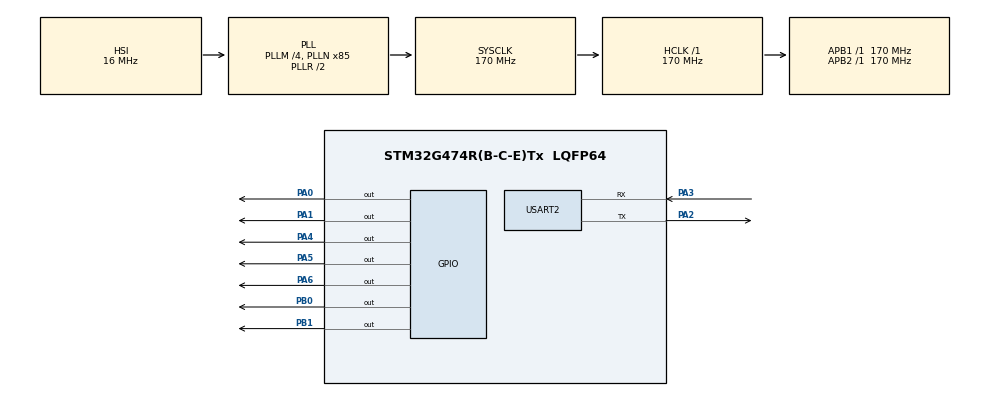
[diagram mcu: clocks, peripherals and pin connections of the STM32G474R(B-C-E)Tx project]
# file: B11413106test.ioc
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Mcu.Family=STM32G4
Mcu.Name=STM32G474R(B-C-E)Tx
Mcu.Package=LQFP64
NVIC.PriorityGroup=NVIC_PRIORITYGROUP_4
NVIC.TIM6_DAC_IRQn=true\:0\:0\:false\:false\:true\:true\:true\:true
NVIC.USART2_IRQn=true\:0\:0\:false\:false\:true\:true\:true\:true
PA0.Signal=GPIO_Output
PA1.Signal=GPIO_Output
PA13.GPIO_Label=T_SWDIO
PA13.Signal=SYS_JTMS-SWDIO
PA14.GPIO_Label=T_SWCLK
PA14.Signal=SYS_JTCK-SWCLK
PA2.Mode=Asynchronous
PA2.Signal=USART2_TX
PA3.Mode=Asynchronous
PA3.Signal=USART2_RX
PA4.Signal=GPIO_Output
PA5.Signal=GPIO_Output
PA6.Signal=GPIO_Output
PB0.Signal=GPIO_Output
PB1.Signal=GPIO_Output
PB3.GPIO_Label=T_SWO
PB3.Signal=SYS_JTDO-SWO
PC14-OSC32_IN.GPIO_Label=RCC_OSC32_IN
PC14-OSC32_IN.Signal=RCC_OSC32_IN
PC15-OSC32_OUT.GPIO_Label=RCC_OSC32_OUT
PC15-OSC32_OUT.Signal=RCC_OSC32_OUT
PF0-OSC_IN.GPIO_Label=RCC_OSC_IN
PF0-OSC_IN.Mode=HSE-External-Oscillator
PF0-OSC_IN.Signal=RCC_OSC_IN
PF1-OSC_OUT.GPIO_Label=RCC_OSC_OUT
PF1-OSC_OUT.Mode=HSE-External-Oscillator
PF1-OSC_OUT.Signal=RCC_OSC_OUT
ProjectManager.HeapSize=0x200
ProjectManager.StackSize=0x400
ProjectManager.TargetToolchain=STM32CubeIDE
RCC.ADC12Freq_Value=170000000
RCC.ADC345Freq_Value=170000000
RCC.AHBFreq_Value=170000000
RCC.APB1Freq_Value=170000000
RCC.APB1TimFreq_Value=170000000
RCC.APB2Freq_Value=170000000
RCC.APB2TimFreq_Value=170000000
RCC.CortexFreq_Value=170000000
RCC.EXTERNAL_CLOCK_VALUE=12288000
RCC.HCLKFreq_Value=170000000
RCC.HSE_VALUE=24000000
RCC.HSI48_VALUE=48000000
RCC.HSI_VALUE=16000000
RCC.LSE_VALUE=32768
RCC.PLLM=RCC_PLLM_DIV4
RCC.PLLN=85
RCC.RTCClockSelection=RCC_RTCCLKSOURCE_LSE
RCC.SYSCLKFreq_VALUE=170000000
RCC.SYSCLKSource=RCC_SYSCLKSOURCE_PLLCLK
RCC.USBFreq_Value=170000000
RCC.VCOOutputFreq_Value=340000000
TIM6.Prescaler=169
USART2.VirtualMode-Asynchronous=VM_ASYNC
VP_SYS_VS_DBSignals.Mode=DisableDeadBatterySignals
VP_TIM6_VS_ClockSourceINT.Mode=Enable_Timer
board=NUCLEO-G474RE

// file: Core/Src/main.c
/* USER CODE BEGIN Header */
/**
  ******************************************************************************
  * @file           : main.c
  * @brief          : NUCLEO-G474RE 電子仙女棒控制程式 (加快燈光熄滅速度、平滑 PWM 及 5 秒碳化恢復)
  ******************************************************************************
  */
/* USER CODE END Header */
#include "main.h"

/* USER CODE BEGIN Includes */
#include <string.h>          // 引入字串與記憶體操作函式庫，用於初始化與歸零全域陣列，原因為方便管理記憶體
#include <stdbool.h>         // 引入布林值型態支援，用於碳化狀態與等待邏輯判斷，原因便於狀態管理
/* USER CODE END Includes */

/* USER CODE BEGIN PD */
#define LED_COUNT 7          // 定義仙女棒總共的 LED 數量為 7 顆，原因為方便後續迴圈與陣列操作
#define PWM_MAX 100          // 定義軟體 PWM 的最大亮度極限值，數值越大階調越細緻平順
/* USER CODE END PD */

TIM_HandleTypeDef htim6;     // 宣告 TIM6 定時器句柄結構體變數，原因用於產生軟體 PWM 與動畫時基

UART_HandleTypeDef huart2;   // 宣告 UART2 句柄結構體變數，原因用於接收外部控制指令

/* USER CODE BEGIN PV */
uint8_t rx_byte;                             // 用於存放從 UART 接收到的單一字元變數
volatile uint8_t led_brightness[LED_COUNT];  // 儲存 7 顆 LED 當前的實際亮度 (0 到 100)，供中斷服務函式使用
volatile uint8_t led_target[LED_COUNT];      // 儲存 7 顆 LED 的目標亮度，原因用於實現漸變過渡
bool led_carbonized[LED_COUNT];              // 模擬碳化狀態：若為 true 表示該處已燃燒完畢碳化，無法再次點燃
uint32_t anim_tick = 0;                      // 動畫計時器變數，原因用來控制仙女棒燃燒擴散與漸弱的更新頻率
/* USER CODE END PV */

void SystemClock_Config(void);
static void MX_GPIO_Init(void);
static void MX_TIM6_Init(void);
static void MX_USART2_UART_Init(void);
/* USER CODE BEGIN PFP */
void Sparkler_Update(void);                  // 宣告仙女棒燃燒動態邏輯更新函式
/* USER CODE END PFP */

/* USER CODE BEGIN 0 */

// 定時器 TIM6 中斷回調函式：負責產生軟體 PWM 脈波與掃描 LED 亮度
void HAL_TIM_PeriodElapsedCallback(TIM_HandleTypeDef *htim)
{
  if (htim->Instance == TIM6)                  // 檢查是否為 TIM6 定時器觸發的中斷
  {
    static uint8_t pwm_counter = 0;            // 宣告靜態變數作為 PWM 週期計數器 (0 到 99)
    pwm_counter++;                             // 每次中斷計數器遞增 1，形成高頻掃描
    if (pwm_counter >= PWM_MAX)                // 當計數器達到最大值時歸零，完成一個 PWM 週期
    {
      pwm_counter = 0;                         // 歸零計數器以重新開始下一個 PWM 週期
    }

    // 依序掃描 7 顆 LED，利用比較 pwm_counter 與當前亮度來決定開關狀態，達到平順調光
    // LED 1 控制 (位於 PA0)
    if (pwm_counter < led_brightness[0]) { HAL_GPIO_WritePin(GPIOA, GPIO_PIN_0, GPIO_PIN_SET); }
    else { HAL_GPIO_WritePin(GPIOA, GPIO_PIN_0, GPIO_PIN_RESET); }

    // LED 2 控制 (位於 PA1)
    if (pwm_counter < led_brightness[1]) { HAL_GPIO_WritePin(GPIOA, GPIO_PIN_1, GPIO_PIN_SET); }
    else { HAL_GPIO_WritePin(GPIOA, GPIO_PIN_1, GPIO_PIN_RESET); }

    // LED 3 控制 (位於 PB0，避開 UART 的 PA2)
    if (pwm_counter < led_brightness[2]) { HAL_GPIO_WritePin(GPIOB, GPIO_PIN_0, GPIO_PIN_SET); }
    else { HAL_GPIO_WritePin(GPIOB, GPIO_PIN_0, GPIO_PIN_RESET); }

    // LED 4 控制 (位於 PB1，避開 UART 的 PA3)
    if (pwm_counter < led_brightness[3]) { HAL_GPIO_WritePin(GPIOB, GPIO_PIN_1, GPIO_PIN_SET); }
    else { HAL_GPIO_WritePin(GPIOB, GPIO_PIN_1, GPIO_PIN_RESET); }

    // LED 5 控制 (位於 PA4)
    if (pwm_counter < led_brightness[4]) { HAL_GPIO_WritePin(GPIOA, GPIO_PIN_4, GPIO_PIN_SET); }
    else { HAL_GPIO_WritePin(GPIOA, GPIO_PIN_4, GPIO_PIN_RESET); }

    // LED 6 控制 (位於 PA5)
    if (pwm_counter < led_brightness[5]) { HAL_GPIO_WritePin(GPIOA, GPIO_PIN_5, GPIO_PIN_SET); }
    else { HAL_GPIO_WritePin(GPIOA, GPIO_PIN_5, GPIO_PIN_RESET); }

    // LED 7 控制 (位於 PA6)
    if (pwm_counter < led_brightness[6]) { HAL_GPIO_WritePin(GPIOA, GPIO_PIN_6, GPIO_PIN_SET); }
    else { HAL_GPIO_WritePin(GPIOA, GPIO_PIN_6, GPIO_PIN_RESET); }
  }
}

// UART 接收完成回調函式：當透過序列埠輸入字元時觸發
void HAL_UART_RxCpltCallback(UART_HandleTypeDef *huart)
{
  if (huart->Instance == USART2)               // 確認是否為 USART2 觸發的接收事件
  {
    if (rx_byte >= '1' && rx_byte <= '7')      // 檢查輸入字元是否介於 '1' 到 '7' 之間
    {
      int index = rx_byte - '1';               // 將字元轉換為對應的陣列索引值 (0 到 6)

      if (!led_carbonized[index])              // 檢查該位置是否已經碳化，若未碳化才允許點燃
      {
        led_target[index] = 100;               // 設定輸入點擊位置為最高亮度目標 (點燃起點)
      }
    }
    HAL_UART_Receive_IT(&huart2, &rx_byte, 1); // 重新啟動 UART 接收中斷以持續監聽下一個指令
  }
}

// 仙女棒燃燒、連鎖蔓延與碳化動畫邏輯核心函式
void Sparkler_Update(void)
{
  // 1. 亮度漸變與碳化狀態更新
  for (int i = 0; i < LED_COUNT; i++)          // 迴圈遍歷每一顆 LED 以平滑更新其亮度
  {
    if (led_brightness[i] < led_target[i])     // 如果當前亮度小於目標亮度
    {
      led_brightness[i]++;                     // 漸進式調亮，使點亮過程平順不突兀
    }
    else if (led_brightness[i] > led_target[i]) // 如果當前亮度大於目標亮度（模擬燃燒後漸弱與碳化）
    {
      // 讓亮度遞減速度加快（每次扣 3），使熄滅過程更快速俐落
      if (led_brightness[i] >= 3) {
        led_brightness[i] -= 3;
      } else {
        led_brightness[i] = 0;
      }

      if (led_brightness[i] == 0 && led_target[i] == 0) // 當亮度歸零且目標也為零時
      {
        led_carbonized[i] = true;              // 標記該 LED 已經碳化失效，無法再次點亮
      }
    }
  }

  // 2. 模擬真實仙女棒流動蔓延特性：當某處燃燒亮度達到 60 時，平順向左右未點燃的鄰居傳遞燃燒
  for (int i = 0; i < LED_COUNT; i++)
  {
    if (led_brightness[i] >= 60 && led_target[i] == 100) // 當該 LED 正在強烈燃燒時
    {
      // 往左側流動蔓延（若左側有空間且未碳化且尚未點燃）
      if (i > 0 && !led_carbonized[i - 1] && led_target[i - 1] == 0 && led_brightness[i - 1] == 0)
      {
        led_target[i - 1] = 100;               // 點燃左側鄰近 LED，實現連鎖蔓延
      }
      // 往右側流動蔓延（若右側有空間且未碳化且尚未點燃）
      if (i < LED_COUNT - 1 && !led_carbonized[i + 1] && led_target[i + 1] == 0 && led_brightness[i + 1] == 0)
      {
        led_target[i + 1] = 100;               // 點燃右側鄰近 LED，實現連鎖蔓延
      }
    }
  }

  // 3. 燃燒頂峰後的熄滅引導：當 LED 達到最亮 (100) 後，將目標降為 0，並加快目標遞減速度以加速熄滅
  for (int i = 0; i < LED_COUNT; i++)
  {
    if (led_brightness[i] >= 100 && led_target[i] == 100)
    {
      led_target[i] = 0;                       // 達到頂峰後設定目標為 0，引導進入熄滅階段
    }

    // 如果目標值大於 0 且已經在消散中，讓目標值快速遞減（每次減 5），使熄滅時間大幅縮短
    if (led_target[i] > 0 && led_target[i] < 100)
    {
      if (led_target[i] > 5) {
        led_target[i] -= 5;                    // 加快目標值下降速度，使燈光熄滅速度變快
      } else {
        led_target[i] = 0;
      }
    }
  }

  // 4. 5 秒碳化恢復計時邏輯
  static uint32_t carbonize_timer = 0;         // 記錄完全碳化開始的系統時間戳記
  static bool waiting_for_reset = false;       // 記錄目前是否正在進行 5 秒倒數計時

  // 檢查是否所有 LED 都已經碳化燃燒完畢
  bool all_carbonized = true;                  // 假設全部已經碳化
  for (int i = 0; i < LED_COUNT; i++)
  {
    if (!led_carbonized[i]) { all_carbonized = false; break; }  // 只要有一顆還沒碳化就設為 false
  }

  if (all_carbonized)                          // 如果全部燃燒完畢進入完全碳化狀態
  {
    if (!waiting_for_reset)                    // 若尚未開始計時
    {
      waiting_for_reset = true;                // 標記進入等待狀態
      carbonize_timer = HAL_GetTick();         // 取得當前系統時間作為 5 秒計時起點
    }
    else                                       // 若已經在等待中
    {
      if (HAL_GetTick() - carbonize_timer >= 5000) // 檢查是否已經經過了 5 秒 (5000 毫秒)
      {
        for (int i = 0; i < LED_COUNT; i++)
        {
          led_carbonized[i] = false;           // 5 秒冷卻時間到，解除碳化限制，恢復仙女棒狀態
        }
        waiting_for_reset = false;             // 重置等待旗標，準備迎接下一輪燃燒
      }
    }
  }
  else
  {
    waiting_for_reset = false;                 // 若尚未全數碳化，則重置計時等待狀態
  }
}
/* USER CODE END 0 */

int main(void)
{

  /* MCU Configuration--------------------------------------------------------*/

  /* Reset of all peripherals, Initializes the Flash interface and the Systick. */
  HAL_Init();                                  // 初始化 HAL 庫與系統滴答計時器，確保基礎時脈正常

  /* Configure the system clock */
  SystemClock_Config();                        // 設定系統時脈至 170 MHz

  /* Initialize all configured peripherals */
  MX_GPIO_Init();                              // 初始化所有 LED 控制的 GPIO 腳位
  MX_TIM6_Init();                              // 初始化 TIM6 定時器（用於軟體 PWM 脈波基準）
  MX_USART2_UART_Init();                       // 初始化 USART2 序列埠（用於接收外部指令）

  /* USER CODE BEGIN 2 */
  memset((void*)led_brightness, 0, sizeof(led_brightness)); // 將所有 LED 亮度歸零初始化
  memset((void*)led_target, 0, sizeof(led_target));         // 將所有目標亮度歸零初始化
  memset(led_carbonized, 0, sizeof(led_carbonized));        // 清除碳化標記，預設均未碳化

  HAL_TIM_Base_Start_IT(&htim6);                            // 啟動 TIM6 定時器中斷，開始高頻軟體 PWM 掃描
  HAL_UART_Receive_IT(&huart2, &rx_byte, 1);                // 啟動 UART2 接收中斷，準備接收使用者指令
  /* USER CODE END 2 */

  /* Infinite loop */
  /* USER CODE BEGIN WHILE */
  while (1)
  {
    uint32_t current_tick = HAL_GetTick();     // 取得當前的系統時間戳記
    if (current_tick - anim_tick >= 20)        // 每隔 20 毫秒執行一次更新，確保動畫平順
    {
      anim_tick = current_tick;                // 更新計時基準點
      Sparkler_Update();                       // 呼叫仙女棒動態更新函式
    }
    /* USER CODE END WHILE */

  }
}

void SystemClock_Config(void)
{
  RCC_OscInitTypeDef RCC_OscInitStruct = {0};
  RCC_ClkInitTypeDef RCC_ClkInitStruct = {0};

  /** Configure the main internal regulator output voltage
  */
  HAL_PWREx_ControlVoltageScaling(PWR_REGULATOR_VOLTAGE_SCALE1_BOOST); // 設定內部穩壓器為 Boost 模式以支援高效能

  /** Initializes the RCC Oscillators according to the specified parameters
  * in the RCC_OscInitTypeDef structure.
  */
  RCC_OscInitStruct.OscillatorType = RCC_OSCILLATORTYPE_HSI; // 使用內部高速振盪器 (HSI)
  RCC_OscInitStruct.HSIState = RCC_HSI_ON;                  // 開啟 HSI
  RCC_OscInitStruct.HSICalibrationValue = RCC_HSICALIBRATION_DEFAULT; // 預設校準值
  RCC_OscInitStruct.PLL.PLLState = RCC_PLL_ON;              // 開啟 PLL 鎖相迴路
  RCC_OscInitStruct.PLL.PLLSource = RCC_PLLSOURCE_HSI;      // PLL 來源設為 HSI
  RCC_OscInitStruct.PLL.PLLM = RCC_PLLM_DIV4;               // PLL M 分頻係數
  RCC_OscInitStruct.PLL.PLLN = 85;                          // PLL N 倍頻係數
  RCC_OscInitStruct.PLL.PLLP = RCC_PLLP_DIV2;               // PLL P 分頻
  RCC_OscInitStruct.PLL.PLLQ = RCC_PLLQ_DIV2;               // PLL Q 分頻
  RCC_OscInitStruct.PLL.PLLR = RCC_PLLR_DIV2;               // PLL R 分頻
  if (HAL_RCC_OscConfig(&RCC_OscInitStruct) != HAL_OK)
  {
    Error_Handler();                                        // 若時脈設定失敗則進入錯誤處理
  }

  /** Initializes the CPU, AHB and APB buses clocks
  */
  RCC_ClkInitStruct.ClockType = RCC_CLOCKTYPE_HCLK|RCC_CLOCKTYPE_SYSCLK
                              |RCC_CLOCKTYPE_PCLK1|RCC_CLOCKTYPE_PCLK2;
  RCC_ClkInitStruct.SYSCLKSource = RCC_SYSCLKSOURCE_PLLCLK; // 系統時脈來源設為 PLL
  RCC_ClkInitStruct.AHBCLKDivider = RCC_SYSCLK_DIV1;         // AHB 匯流排不分頻
  RCC_ClkInitStruct.APB1CLKDivider = RCC_HCLK_DIV1;          // APB1 匯流排不分頻
  RCC_ClkInitStruct.APB2CLKDivider = RCC_HCLK_DIV1;          // APB2 匯流排不分頻

  if (HAL_RCC_ClockConfig(&RCC_ClkInitStruct, FLASH_LATENCY_4) != HAL_OK)
  {
    Error_Handler();                                        // 若匯流排設定失敗則進入錯誤處理
  }
}

static void MX_TIM6_Init(void)
{

  TIM_MasterConfigTypeDef sMasterConfig = {0};

  htim6.Instance = TIM6;
  htim6.Init.Prescaler = 170 - 1;              // 預分頻器設定：將 170MHz 主頻降頻為 1MHz (每 1us 計數一次)
  htim6.Init.CounterMode = TIM_COUNTERMODE_UP; // 向上計數模式
  htim6.Init.Period = 100 - 1;                 // 自動重載值設定：計數 100 次觸發一次中斷 (100us，即 10kHz  PWM 頻率)
  htim6.Init.AutoReloadPreload = TIM_AUTORELOAD_PRELOAD_DISABLE; // 停用自動重載預載入
  if (HAL_TIM_Base_Init(&htim6) != HAL_OK)
  {
    Error_Handler();                           // 初始化失敗則進錯誤處理
  }
  sMasterConfig.MasterOutputTrigger = TIM_TRGO_RESET;
  sMasterConfig.MasterSlaveMode = TIM_MASTERSLAVEMODE_DISABLE;
  if (HAL_TIMEx_MasterConfigSynchronization(&htim6, &sMasterConfig) != HAL_OK)
  {
    Error_Handler();                           // 同步設定失敗則進錯誤處理
  }

}

static void MX_USART2_UART_Init(void)
{

  huart2.Instance = USART2;
  huart2.Init.BaudRate = 115200;               // 波特率設為 115200
  huart2.Init.WordLength = UART_WORDLENGTH_8B; // 資料位元為 8 位元
  huart2.Init.StopBits = UART_STOPBITS_1;      // 停止位元為 1 位元
  huart2.Init.Parity = UART_PARITY_NONE;      // 無奇偶校驗
  huart2.Init.Mode = UART_MODE_TX_RX;         // 啟用收發雙向模式
  huart2.Init.HwFlowCtl = UART_HWCONTROL_NONE; // 無硬體流控
  huart2.Init.OverSampling = UART_OVERSAMPLING_16; // 過取樣率 16 倍
  huart2.Init.OneBitSampling = UART_ONE_BIT_SAMPLE_DISABLE; // 停用單位取樣
  huart2.Init.ClockPrescaler = UART_PRESCALER_DIV1; // 時脈不分頻
  huart2.AdvancedInit.AdvFeatureInit = UART_ADVFEATURE_NO_INIT;
  if (HAL_UART_Init(&huart2) != HAL_OK)
  {
    Error_Handler();                           // 初始化失敗則進錯誤處理
  }
  if (HAL_UARTEx_SetTxFifoThreshold(&huart2, UART_TXFIFO_THRESHOLD_1_8) != HAL_OK)
  {
    Error_Handler();
  }
  if (HAL_UARTEx_SetRxFifoThreshold(&huart2, UART_RXFIFO_THRESHOLD_1_8) != HAL_OK)
  {
    Error_Handler();
  }
  if (HAL_UARTEx_DisableFifoMode(&huart2) != HAL_OK)
  {
    Error_Handler();
  }

}

static void MX_GPIO_Init(void)
{
  GPIO_InitTypeDef GPIO_InitStruct = {0};

  /* GPIO Ports Clock Enable */
  __HAL_RCC_GPIOC_CLK_ENABLE();                // 啟用 GPIOC 時脈
  __HAL_RCC_GPIOF_CLK_ENABLE();                // 啟用 GPIOF 時脈
  __HAL_RCC_GPIOA_CLK_ENABLE();                // 啟用 GPIOA 時脈 (支援 PA0, PA1, PA4, PA5, PA6)
  __HAL_RCC_GPIOB_CLK_ENABLE();                // 啟用 GPIOB 時脈 (支援 PB0, PB1)

  /*Configure GPIO pin Output Level */
  HAL_GPIO_WritePin(GPIOA, GPIO_PIN_0|GPIO_PIN_1|GPIO_PIN_4|GPIO_PIN_5
                          |GPIO_PIN_6, GPIO_PIN_RESET); // 預設輸出低電位（LED 熄滅）

  /*Configure GPIO pin Output Level */
  HAL_GPIO_WritePin(GPIOB, GPIO_PIN_0|GPIO_PIN_1, GPIO_PIN_RESET); // 預設輸出低電位（LED 熄滅）

  /*Configure GPIO pins : PA0 PA1 PA4 PA5 PA6 */
  GPIO_InitStruct.Pin = GPIO_PIN_0|GPIO_PIN_1|GPIO_PIN_4|GPIO_PIN_5
                          |GPIO_PIN_6;
  GPIO_InitStruct.Mode = GPIO_MODE_OUTPUT_PP;  // 設定為推挽輸出模式
  GPIO_InitStruct.Pull = GPIO_NOPULL;          // 不上下拉
  GPIO_InitStruct.Speed = GPIO_SPEED_FREQ_LOW; // 輸出速度設為低速
  HAL_GPIO_Init(GPIOA, &GPIO_InitStruct);      // 初始化 GPIOA 腳位

  /*Configure GPIO pins : PB0 PB1 */
  GPIO_InitStruct.Pin = GPIO_PIN_0|GPIO_PIN_1;
  GPIO_InitStruct.Mode = GPIO_MODE_OUTPUT_PP;  // 設定為推挽輸出模式
  GPIO_InitStruct.Pull = GPIO_NOPULL;          // 不上下拉
  GPIO_InitStruct.Speed = GPIO_SPEED_FREQ_LOW; // 輸出速度設為低速
  HAL_GPIO_Init(GPIOB, &GPIO_InitStruct);      // 初始化 GPIOB 腳位

}

void Error_Handler(void)
{
  /* USER CODE BEGIN Error_Handler_Debug */
  /* User can add his own implementation to report the HAL error return state */
  __disable_irq();                             // 關閉全域中斷，進入保護狀態
  while (1)
  {
    // 停留在無窮迴圈中等待排除
  }
  /* USER CODE END Error_Handler_Debug */
}
